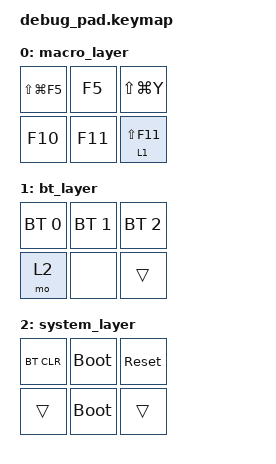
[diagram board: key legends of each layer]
#include <behaviors.dtsi>
#include <dt-bindings/zmk/bt.h>
#include <dt-bindings/zmk/keys.h>

/ {
    macros {
        RESUME: RESUME {
            compatible = "zmk,behavior-macro";
            label = "RESUME";
            #binding-cells = <0>;
            bindings =
                <&macro_press>,
                <&kp LCMD &kp LEFT_ALT &kp R>;
        };
    };

    keymap {
        compatible = "zmk,keymap";

        macro_layer {
            bindings = <
&kp LS(LG(F5))   &kp F5  &kp LS(LG(Y))
       &kp F10  &kp F11  &lt 1 LS(F11)
            >;
        };

        bt_layer {
            bindings = <
&bt BT_SEL 0  &bt BT_SEL 1  &bt BT_SEL 2
       &mo 2         &none        &trans
            >;
        };

        system_layer {
            bindings = <
&bt BT_CLR  &bootloader  &sys_reset
    &trans  &bootloader      &trans
            >;
        };
    };
};
